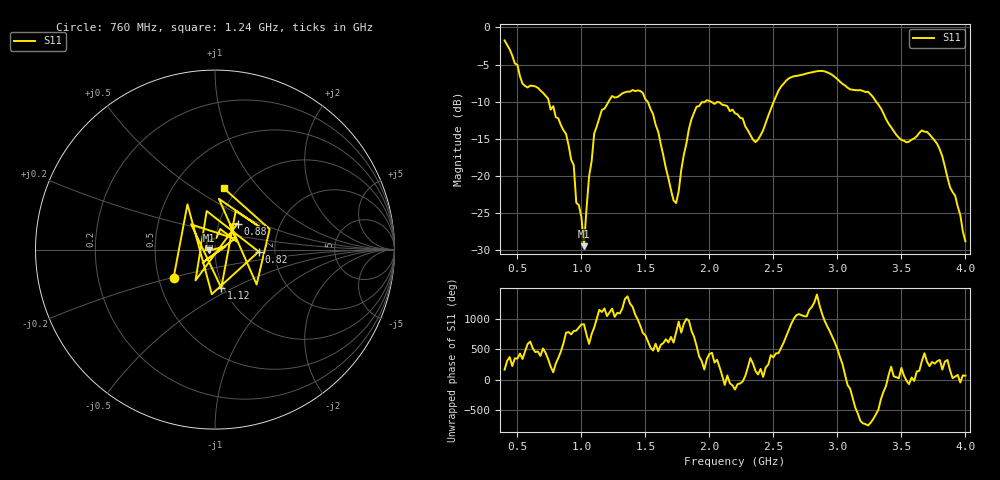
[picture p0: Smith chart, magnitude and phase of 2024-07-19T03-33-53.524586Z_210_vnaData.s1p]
!Created with skrf (http://scikit-rf.org).
# Hz S RI R 50.0
!freq ReS11 ImS11
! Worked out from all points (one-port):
!   181 points, 400 MHz to 4 GHz, reference 50 ohm
!   lowest |S11| = -29.4 dB at 1.02 GHz (marker M1), VSWR 1.07, Z = 46.8 - j0.396 ohm
!   |S11| at or under -10 dB: 745.6 MHz to 1.212 GHz (466.6 MHz wide, 47.7 % of centre); 2.012 GHz to 2.502 GHz (490.3 MHz wide, 21.7 % of centre); 3.302 GHz to end of sweep (the widest 3 of 4)
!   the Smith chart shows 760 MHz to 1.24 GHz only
!   S11 on the Smith chart (normalised r, x): 760 MHz: 0.60, -0.20; 820 MHz: 1.64, -0.04; 880 MHz: 1.23, +0.37; 1.12 GHz: 0.98, -0.44; 1.24 GHz: 0.86, +0.67
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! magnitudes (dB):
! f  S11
! 400 MHz  -1.8
! 540 MHz  -7.6
! 760 MHz  -11.1
! 820 MHz  -12.3
! 860 MHz  -13.8
! 880 MHz  -14.3
! 940 MHz  -18.5
! 960 MHz  -23.6
! 1 GHz  -25.5
! 1.02 GHz  -29.4
! 1.06 GHz  -20.0
! 1.12 GHz  -13.3
! 1.24 GHz  -9.2
! 1.3 GHz  -9.2
! 1.48 GHz  -8.8
! 1.6 GHz  -14.0
! 1.72 GHz  -23.3
! 1.76 GHz  -22.1
! 1.84 GHz  -13.7
! 1.9 GHz  -10.7
! 2.2 GHz  -11.6
! 2.36 GHz  -15.4
! 2.66 GHz  -6.6
! 3.1 GHz  -8.3
! 3.24 GHz  -8.7
! 3.56 GHz  -15.4
! 3.78 GHz  -15.7
! 4 GHz  -28.8
